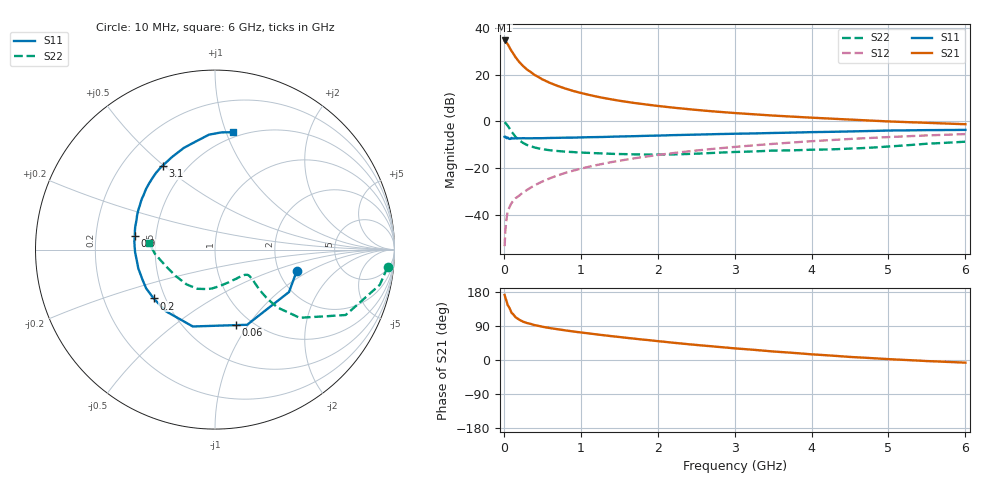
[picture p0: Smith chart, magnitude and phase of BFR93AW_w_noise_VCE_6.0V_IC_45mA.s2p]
! Infineon Technologies  Discrete & RF Semiconductors
! BFR93AW
! VCE =  6.0 V,  IC =  45 mA
! Common Emitter S-Parameters:  Jan 2017
# GHz  S  MA  R  50
!  f  S11  S21  S12  S22
! GHz  MAG  ANG  MAG  ANG  MAG  ANG  MAG  ANG
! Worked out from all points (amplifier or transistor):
!   77 points, 10 MHz to 6 GHz, reference 50 ohm
!   highest |S21| = 34.5 dB at 10 MHz (marker M1)
!   |S21| within 3 dB of that: start of sweep to 74.35 MHz
!   unconditionally stable (mu >= 1): 495.5 MHz to 2.015 GHz
!   at 130 MHz: K = 0.59, MSG = 31.0 dB, |S12| = -33.5 dB
!   at 2.2 GHz: K = 0.99, MSG = 9.7 dB, |S12| = -13.5 dB
!   at 6 GHz: K = 0.88, MSG = 2.1 dB, |S12| = -5.4 dB
!   lowest NFmin = 2.16 dB at 450 MHz
!   S11 on the Smith chart (normalised r, x): 10 MHz: 2.50, -0.77; 60 MHz: 0.85, -0.88; 200 MHz: 0.43, -0.29; 900 MHz: 0.38, +0.07; 3.1 GHz: 0.37, +0.50; 6 GHz: 0.45, +1.06
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0.01  0.4707 -14.8  53.29 171.7  0.0022 79.1  0.9665 -5.8
0.02  0.4753 -29.8  52.7 164.3  0.0048 82.5  0.9394 -12.0
0.05  0.4554 -66.9  44.47 144.9  0.0121 67.3  0.814 -26.6
0.06  0.437 -74.3  41.6 141.9  0.0133 66.0  0.7699 -28.5
0.1  0.4457 -106.1  31.81 124.6  0.0182 62.6  0.6053 -38.9
0.15  0.439 -128.4  23.66 113.3  0.023 60.1  0.474 -42.8
0.2  0.437 -141.5  18.55 106.3  0.0263 62.4  0.3974 -43.2
0.25  0.4402 -150.7  15.21 101.2  0.0309 63.0  0.349 -42.4
0.3  0.4374 -157.2  12.82 97.6  0.0346 65.7  0.316 -41.3
0.4  0.44 -166.2  9.814 92.0  0.0435 68.2  0.2785 -39.3
0.5  0.4404 -172.9  7.907 87.8  0.0525 69.6  0.2571 -38.1
0.6  0.4454 -178.1  6.646 84.2  0.0616 70.9  0.2433 -37.5
0.7  0.448 178.0  5.719 81.2  0.0709 71.5  0.2345 -37.4
0.9  0.4526 170.6  4.479 75.3  0.0894 71.4  0.2228 -39.1
1.1  0.462 164.3  3.709 70.3  0.1079 71.0  0.2142 -41.9
1.3  0.468 158.9  3.163 65.3  0.1265 70.1  0.2083 -45.9
1.5  0.4781 154.1  2.771 60.7  0.1454 69.1  0.2023 -51.0
2.1  0.5054 140.8  2.057 47.8  0.2024 64.6  0.1978 -70.4
3.1  0.5509 122.0  1.476 29.2  0.2958 55.4  0.2258 -103.4
4.1  0.596 105.5  1.183 13.7  0.3882 45.3  0.2512 -132.7
5.1  0.6432 91.8  0.988 1.3  0.4731 34.3  0.2999 -165.9
6  0.6618 81.3  0.874 -7.0  0.5388 24.2  0.3708 174.0
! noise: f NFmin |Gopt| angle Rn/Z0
0.45  2.16  0.24  -179  0.17
0.9  2.46  0.3  -169  0.17
1.9  3.55  0.53  -132  0.39
2.4  4.27  0.57  -122  0.72
